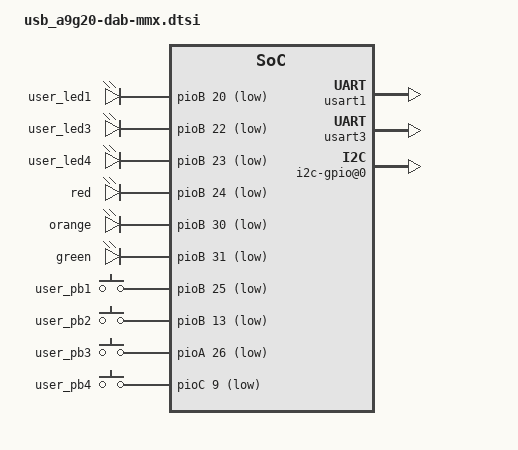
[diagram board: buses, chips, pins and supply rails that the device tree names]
/*
 * calao-dab-mmx.dtsi - Device Tree Include file for Calao DAB-MMX Daughter Board
 *
 * Copyright (C) 2011 Jean-Christophe PLAGNIOL-VILLARD <plagnioj@jcrosoft.com>
 *
 * Licensed under GPLv2.
 */

/ {
	ahb {
		apb {
			usart1: serial@fffb4000 {
				status = "okay";
			};

			usart3: serial@fffd0000 {
				status = "okay";
			};
		};
	};

	i2c-gpio@0 {
		status = "okay";
	};

	leds {
		compatible = "gpio-leds";

		user_led1 {
			label = "user_led1";
			gpios = <&pioB 20 GPIO_ACTIVE_LOW>;
		};

/*
* led already used by mother board but active as high
*		user_led2 {
*			label = "user_led2";
*			gpios = <&pioB 21 GPIO_ACTIVE_LOW>;
*		};
*/
		user_led3 {
			label = "user_led3";
			gpios = <&pioB 22 GPIO_ACTIVE_LOW>;
		};

		user_led4 {
			label = "user_led4";
			gpios = <&pioB 23 GPIO_ACTIVE_LOW>;
		};

		red {
			label = "red";
			gpios = <&pioB 24 GPIO_ACTIVE_LOW>;
		};

		orange {
			label = "orange";
			gpios = <&pioB 30 GPIO_ACTIVE_LOW>;
		};

		green {
			label = "green";
			gpios = <&pioB 31 GPIO_ACTIVE_LOW>;
		};
	};

	gpio_keys {
		compatible = "gpio-keys";
		#address-cells = <1>;
		#size-cells = <0>;

		user_pb1 {
			label = "user_pb1";
			gpios = <&pioB 25 GPIO_ACTIVE_LOW>;
			linux,code = <0x100>;
		};

		user_pb2 {
			label = "user_pb2";
			gpios = <&pioB 13 GPIO_ACTIVE_LOW>;
			linux,code = <0x101>;
		};

		user_pb3 {
			label = "user_pb3";
			gpios = <&pioA 26 GPIO_ACTIVE_LOW>;
			linux,code = <0x102>;
		};

		user_pb4 {
			label = "user_pb4";
			gpios = <&pioC 9 GPIO_ACTIVE_LOW>;
			linux,code = <0x103>;
		};
	};
};
